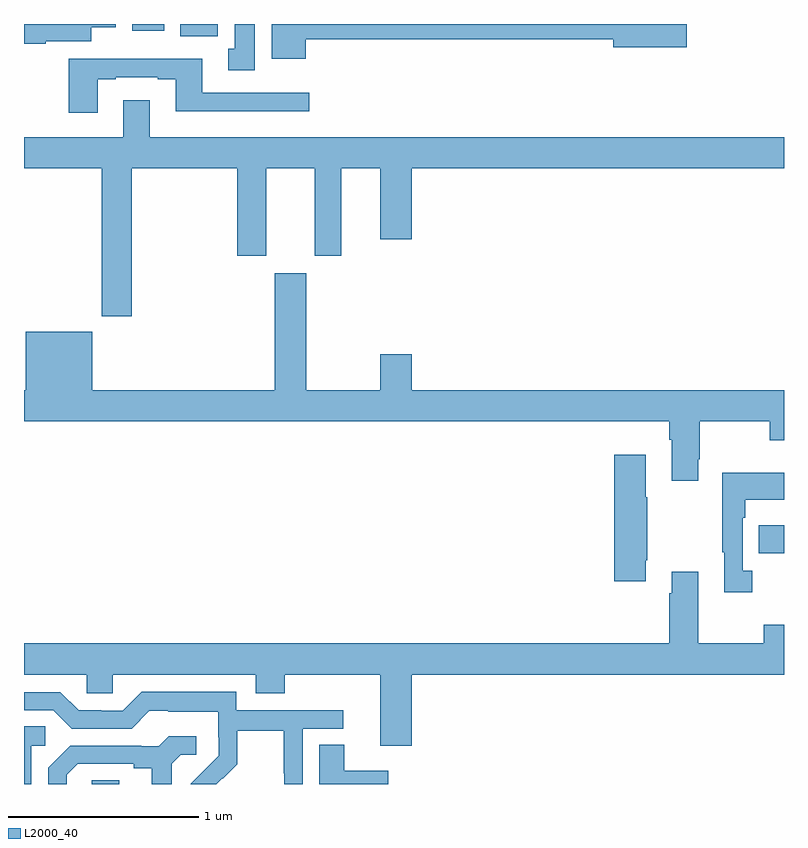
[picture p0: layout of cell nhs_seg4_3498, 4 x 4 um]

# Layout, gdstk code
import gdstk
lib = gdstk.Library(unit=1e-6, precision=1e-09)
def R(c, l, rs):  # rectangles x0, y0, x1, y1
    for r in rs: c.add(gdstk.rectangle(r[:2], r[2:], *l))
def P(c, l, *ps):  # polygons
    for p in ps: c.add(gdstk.Polygon(p, *l))
L2000_40 = (2000, 40)

nhs_seg4_3498 = lib.new_cell('nhs_seg4_3498')
R(nhs_seg4_3498, L2000_40, [(295.356,806.9,295.501,806.921), (298.867,808.114,299,808.261), (295.823,810.836,296.02,810.9), (295.571,810.864,295.738,810.9)])
P(nhs_seg4_3498, L2000_40, [(295.114,810.809),(295.354,810.809),(295.354,810.884),(295.483,810.884),(295.483,810.9),(295.002,810.9),(295.002,810.797),(295.114,810.797)],
  [(296.215,810.9),(296.108,810.9),(296.108,810.77),(296.075,810.77),(296.075,810.657),(296.215,810.657)],
  [(296.482,810.82),(298.1,810.82),(298.1,810.778),(298.489,810.778),(298.489,810.9),(296.303,810.9),(296.303,810.716),(296.482,810.716)],
  [(295.387,810.609),(295.483,810.609),(295.483,810.621),(295.703,810.621),(295.703,810.609),(295.799,810.609),(295.799,810.44),(296.5,810.44),(296.5,810.537),(295.939,810.537),(295.939,810.718),(295.235,810.718),(295.235,810.432),(295.387,810.432)],
  [(295.568,810.14),(296.123,810.14),(296.123,809.679),(296.275,809.679),(296.275,810.14),(296.531,810.14),(296.531,809.679),(296.671,809.679),(296.671,810.14),(296.876,810.14),(296.876,809.766),(297.04,809.766),(297.04,810.14),(299,810.14),(299,810.304),(295.663,810.304),(295.663,810.499),(295.523,810.499),(295.523,810.304),(295,810.304),(295,810.14),(295.408,810.14),(295.408,809.361),(295.568,809.361)],
  [(298.549,808.609),(298.557,808.609),(298.557,808.808),(298.924,808.808),(298.924,808.709),(299,808.709),(299,808.972),(297.04,808.972),(297.04,809.161),(296.876,809.161),(296.876,808.972),(296.485,808.972),(296.485,809.587),(296.321,809.587),(296.321,808.972),(295.36,808.972),(295.36,809.281),(295.01,809.281),(295.01,808.972),(295,808.972),(295,808.808),(298.397,808.808),(298.397,808.712),(298.409,808.712),(298.409,808.497),(298.549,808.497)],
  [(298.273,808.078),(298.281,808.078),(298.281,808.409),(298.273,808.409),(298.273,808.633),(298.106,808.633),(298.106,807.966),(298.273,807.966)],
  [(298.834,808.022),(298.782,808.022),(298.782,808.301),(298.795,808.301),(298.795,808.397),(299,808.397),(299,808.537),(298.674,808.537),(298.674,808.121),(298.685,808.121),(298.685,807.909),(298.834,807.909)],
  [(297.04,807.476),(299,807.476),(299,807.739),(298.894,807.739),(298.894,807.64),(298.549,807.64),(298.549,808.018),(298.409,808.018),(298.409,807.905),(298.397,807.905),(298.397,807.64),(295,807.64),(295,807.476),(295.329,807.476),(295.329,807.378),(295.467,807.378),(295.467,807.476),(296.219,807.476),(296.219,807.377),(296.372,807.377),(296.372,807.476),(296.876,807.476),(296.876,807.102),(297.04,807.102)],
  [(296.043,806.931),(296.046,806.928),(296.123,807.005),(296.123,807.18),(296.368,807.18),(296.368,806.956),(296.37,806.956),(296.37,806.9),(296.466,806.9),(296.466,807.192),(296.68,807.192),(296.68,807.288),(296.118,807.288),(296.118,807.385),(295.621,807.385),(295.521,807.285),(295.406,807.285),(295.406,807.288),(295.287,807.288),(295.191,807.384),(295,807.384),(295,807.288),(295.155,807.288),(295.251,807.192),(295.566,807.192),(295.659,807.285),(295.759,807.285),(295.759,807.281),(296.022,807.281),(296.022,807.147),(296.024,807.147),(296.024,807.05),(295.95,806.976),(295.951,806.975),(295.878,806.902),(295.878,806.9),(296.012,806.9)],
  [(295.038,807.102),(295.111,807.102),(295.111,807.203),(295,807.203),(295,806.9),(295.038,806.9)],
  [(295.225,806.949),(295.282,807.006),(295.577,807.006),(295.577,806.984),(295.673,806.984),(295.673,806.9),(295.777,806.9),(295.777,807.007),(295.824,807.054),(295.906,807.054),(295.906,807.151),(295.762,807.151),(295.71,807.099),(295.616,807.099),(295.616,807.102),(295.244,807.102),(295.128,806.986),(295.128,806.9),(295.225,806.9)],
  [(296.917,806.971),(296.686,806.971),(296.686,807.107),(296.555,807.107),(296.555,806.9),(296.917,806.9)])

lib.write_gds('nhs_seg4_3498.gds')
